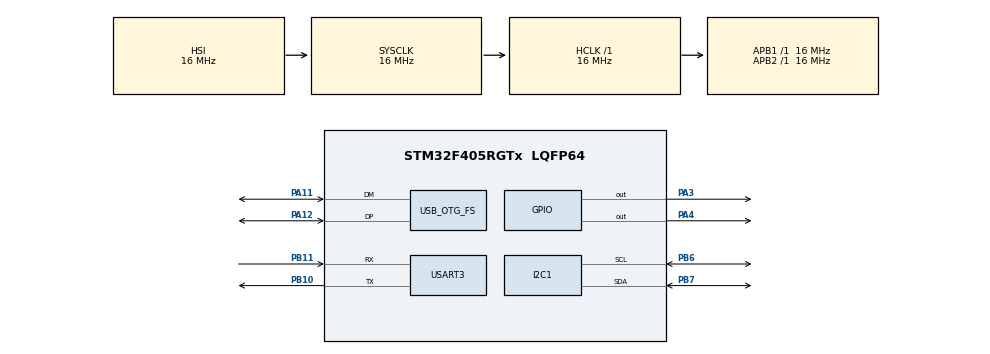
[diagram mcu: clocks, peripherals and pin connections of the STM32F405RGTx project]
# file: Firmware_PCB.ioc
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I2C1.I2C_Mode=I2C_Fast
Mcu.Family=STM32F4
Mcu.Name=STM32F405RGTx
Mcu.Package=LQFP64
NVIC.OTG_FS_IRQn=true\:0\:0\:false\:false\:true\:false\:true\:true
NVIC.PriorityGroup=NVIC_PRIORITYGROUP_4
PA11.Mode=Device_Only
PA11.Signal=USB_OTG_FS_DM
PA12.Mode=Device_Only
PA12.Signal=USB_OTG_FS_DP
PA13.Mode=Trace_Asynchronous_SW
PA13.Signal=SYS_JTMS-SWDIO
PA14.Mode=Trace_Asynchronous_SW
PA14.Signal=SYS_JTCK-SWCLK
PA3.Signal=GPIO_Output
PA4.Signal=GPIO_Output
PB10.Mode=Asynchronous
PB10.Signal=USART3_TX
PB11.Mode=Asynchronous
PB11.Signal=USART3_RX
PB3.Mode=Trace_Asynchronous_SW
PB3.Signal=SYS_JTDO-SWO
PB6.Mode=I2C
PB6.Signal=I2C1_SCL
PB7.Mode=I2C
PB7.Signal=I2C1_SDA
PH0-OSC_IN.Mode=HSE-External-Oscillator
PH0-OSC_IN.Signal=RCC_OSC_IN
PH1-OSC_OUT.Mode=HSE-External-Oscillator
PH1-OSC_OUT.Signal=RCC_OSC_OUT
ProjectManager.HeapSize=0x200
ProjectManager.StackSize=0x400
ProjectManager.TargetToolchain=STM32CubeIDE
RCC.48MHZClocksFreq_Value=30720000
RCC.AHBFreq_Value=16000000
RCC.APB1Freq_Value=16000000
RCC.APB2Freq_Value=16000000
RCC.CortexFreq_Value=16000000
RCC.HSE_VALUE=16000000
RCC.HSI_VALUE=16000000
RCC.LSE_VALUE=32768
RCC.PLLM=15
RCC.PLLN=144
RCC.PLLQ=5
RCC.SYSCLKFreq_VALUE=16000000
RCC.VCOOutputFreq_Value=153600000
USART3.VirtualMode=VM_ASYNC
USB_DEVICE.CLASS_NAME_FS=CDC
USB_DEVICE.VirtualMode-CDC_FS=Cdc
USB_DEVICE.VirtualModeFS=Cdc_FS
USB_OTG_FS.VirtualMode=Device_Only
VP_USB_DEVICE_VS_USB_DEVICE_CDC_FS.Mode=CDC_FS
board=custom

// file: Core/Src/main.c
/* USER CODE BEGIN Header */
/**
  ******************************************************************************
  * @file           : main.c
  * @brief          : Main program body
  ******************************************************************************
  * @attention
  *
  * Copyright (c) 2022 STMicroelectronics.
  * All rights reserved.
  *
  * This software is licensed under terms that can be found in the LICENSE file
  * in the root directory of this software component.
  * If no LICENSE file comes with this software, it is provided AS-IS.
  *
  ******************************************************************************
  */
/* USER CODE END Header */
#include "main.h"
#include "usb_device.h"

/* USER CODE BEGIN Includes */
#include "ssd1306.h"
#include "fonts.h"
#include "test.h"
/* USER CODE END Includes */

I2C_HandleTypeDef hi2c1;

UART_HandleTypeDef huart3;

void SystemClock_Config(void);
static void MX_GPIO_Init(void);
static void MX_I2C1_Init(void);
static void MX_USART3_UART_Init(void);

/* USER CODE BEGIN 0 */

void display(uint8_t num)
{
	char buf[11];
	sprintf(buf, "%d       ", num);

	SSD1306_GotoXY (10,10);
	SSD1306_Puts (buf, &Font_11x18, 1);
	SSD1306_UpdateScreen();
}

/* USER CODE END 0 */

int main(void)
{

  /* MCU Configuration--------------------------------------------------------*/

  /* Reset of all peripherals, Initializes the Flash interface and the Systick. */
  HAL_Init();

  /* Configure the system clock */
  SystemClock_Config();

  /* Initialize all configured peripherals */
  MX_GPIO_Init();
  MX_I2C1_Init();
  MX_USART3_UART_Init();
  MX_USB_DEVICE_Init();
  /* USER CODE BEGIN 2 */

  SSD1306_Init();

  SSD1306_GotoXY (10,10);
  SSD1306_Puts ("Welcome", &Font_11x18, 1);
  SSD1306_UpdateScreen();

  HAL_Delay(1500);

  uint8_t i = 0;

  /* USER CODE END 2 */

  /* Infinite loop */
  while (1)
  {

    /* USER CODE BEGIN 3 */

//	 HAL_GPIO_TogglePin(GPIOA, GPIO_PIN_3);
//	 HAL_Delay(500);

	 HAL_GPIO_WritePin(GPIOA, GPIO_PIN_3, 1);
	 HAL_Delay(500);
	 HAL_GPIO_WritePin(GPIOA, GPIO_PIN_3, 0);
	 display(i++);
	 HAL_GPIO_WritePin(GPIOA, GPIO_PIN_4, 1);
	 HAL_Delay(500);
	 HAL_GPIO_WritePin(GPIOA, GPIO_PIN_4, 0);

  }
  /* USER CODE END 3 */
}

void SystemClock_Config(void)
{
  RCC_OscInitTypeDef RCC_OscInitStruct = {0};
  RCC_ClkInitTypeDef RCC_ClkInitStruct = {0};

  /** Configure the main internal regulator output voltage
  */
  __HAL_RCC_PWR_CLK_ENABLE();
  __HAL_PWR_VOLTAGESCALING_CONFIG(PWR_REGULATOR_VOLTAGE_SCALE1);

  /** Initializes the RCC Oscillators according to the specified parameters
  * in the RCC_OscInitTypeDef structure.
  */
  RCC_OscInitStruct.OscillatorType = RCC_OSCILLATORTYPE_HSI|RCC_OSCILLATORTYPE_HSE;
  RCC_OscInitStruct.HSEState = RCC_HSE_ON;
  RCC_OscInitStruct.HSIState = RCC_HSI_ON;
  RCC_OscInitStruct.HSICalibrationValue = RCC_HSICALIBRATION_DEFAULT;
  RCC_OscInitStruct.PLL.PLLState = RCC_PLL_ON;
  RCC_OscInitStruct.PLL.PLLSource = RCC_PLLSOURCE_HSE;
  RCC_OscInitStruct.PLL.PLLM = 15;
  RCC_OscInitStruct.PLL.PLLN = 144;
  RCC_OscInitStruct.PLL.PLLP = RCC_PLLP_DIV2;
  RCC_OscInitStruct.PLL.PLLQ = 5;
  if (HAL_RCC_OscConfig(&RCC_OscInitStruct) != HAL_OK)
  {
    Error_Handler();
  }

  /** Initializes the CPU, AHB and APB buses clocks
  */
  RCC_ClkInitStruct.ClockType = RCC_CLOCKTYPE_HCLK|RCC_CLOCKTYPE_SYSCLK
                              |RCC_CLOCKTYPE_PCLK1|RCC_CLOCKTYPE_PCLK2;
  RCC_ClkInitStruct.SYSCLKSource = RCC_SYSCLKSOURCE_HSI;
  RCC_ClkInitStruct.AHBCLKDivider = RCC_SYSCLK_DIV1;
  RCC_ClkInitStruct.APB1CLKDivider = RCC_HCLK_DIV1;
  RCC_ClkInitStruct.APB2CLKDivider = RCC_HCLK_DIV1;

  if (HAL_RCC_ClockConfig(&RCC_ClkInitStruct, FLASH_LATENCY_0) != HAL_OK)
  {
    Error_Handler();
  }
}

static void MX_I2C1_Init(void)
{

  hi2c1.Instance = I2C1;
  hi2c1.Init.ClockSpeed = 400000;
  hi2c1.Init.DutyCycle = I2C_DUTYCYCLE_2;
  hi2c1.Init.OwnAddress1 = 0;
  hi2c1.Init.AddressingMode = I2C_ADDRESSINGMODE_7BIT;
  hi2c1.Init.DualAddressMode = I2C_DUALADDRESS_DISABLE;
  hi2c1.Init.OwnAddress2 = 0;
  hi2c1.Init.GeneralCallMode = I2C_GENERALCALL_DISABLE;
  hi2c1.Init.NoStretchMode = I2C_NOSTRETCH_DISABLE;
  if (HAL_I2C_Init(&hi2c1) != HAL_OK)
  {
    Error_Handler();
  }

}

static void MX_USART3_UART_Init(void)
{

  huart3.Instance = USART3;
  huart3.Init.BaudRate = 115200;
  huart3.Init.WordLength = UART_WORDLENGTH_8B;
  huart3.Init.StopBits = UART_STOPBITS_1;
  huart3.Init.Parity = UART_PARITY_NONE;
  huart3.Init.Mode = UART_MODE_TX_RX;
  huart3.Init.HwFlowCtl = UART_HWCONTROL_NONE;
  huart3.Init.OverSampling = UART_OVERSAMPLING_16;
  if (HAL_UART_Init(&huart3) != HAL_OK)
  {
    Error_Handler();
  }

}

static void MX_GPIO_Init(void)
{
  GPIO_InitTypeDef GPIO_InitStruct = {0};

  /* GPIO Ports Clock Enable */
  __HAL_RCC_GPIOH_CLK_ENABLE();
  __HAL_RCC_GPIOA_CLK_ENABLE();
  __HAL_RCC_GPIOB_CLK_ENABLE();

  /*Configure GPIO pin Output Level */
  HAL_GPIO_WritePin(GPIOA, GPIO_PIN_3|GPIO_PIN_4, GPIO_PIN_RESET);

  /*Configure GPIO pins : PA3 PA4 */
  GPIO_InitStruct.Pin = GPIO_PIN_3|GPIO_PIN_4;
  GPIO_InitStruct.Mode = GPIO_MODE_OUTPUT_PP;
  GPIO_InitStruct.Pull = GPIO_NOPULL;
  GPIO_InitStruct.Speed = GPIO_SPEED_FREQ_LOW;
  HAL_GPIO_Init(GPIOA, &GPIO_InitStruct);

}

void Error_Handler(void)
{
  __disable_irq();
  while (1)
  {
  }
}
